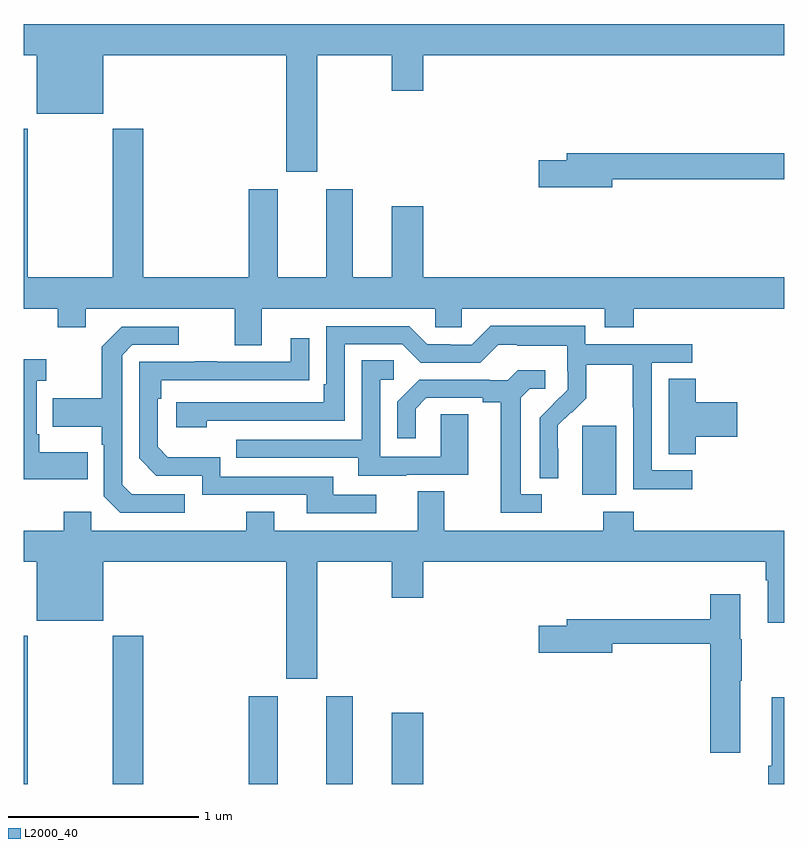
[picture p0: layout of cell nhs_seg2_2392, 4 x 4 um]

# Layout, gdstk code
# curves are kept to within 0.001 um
import gdstk
lib = gdstk.Library(unit=1e-6, precision=1e-09)
def R(c, l, rs):  # rectangles x0, y0, x1, y1
    for r in rs: c.add(gdstk.rectangle(r[:2], r[2:], *l))
def P(c, l, *ps):  # polygons
    for p in ps: c.add(gdstk.Polygon(p, *l))
L2000_40 = (2000, 40)

nhs_seg2_2392 = lib.new_cell('nhs_seg2_2392')
R(nhs_seg2_2392, L2000_40, [(235,647.8,235.023,648.58), (235.468,647.8,235.628,648.58), (236.183,647.8,236.335,648.262), (236.591,647.8,236.731,648.262), (236.936,647.8,237.1,648.175), (237.938,649.322,238.117,649.683)])
P(nhs_seg2_2392, L2000_40, [(236.545,651.632),(236.936,651.632),(236.936,651.444),(237.1,651.444),(237.1,651.632),(239,651.632),(239,651.796),(235,651.796),(235,651.632),(235.07,651.632),(235.07,651.323),(235.42,651.323),(235.42,651.632),(236.381,651.632),(236.381,651.018),(236.545,651.018)],
  [(236.251,650.3),(237.165,650.3),(237.165,650.202),(237.303,650.202),(237.303,650.3),(238.055,650.3),(238.055,650.201),(238.208,650.201),(238.208,650.3),(239,650.3),(239,650.464),(237.1,650.464),(237.1,650.839),(236.936,650.839),(236.936,650.464),(236.731,650.464),(236.731,650.926),(236.591,650.926),(236.591,650.464),(236.335,650.464),(236.335,650.926),(236.183,650.926),(236.183,650.464),(235.628,650.464),(235.628,651.244),(235.468,651.244),(235.468,650.464),(235.023,650.464),(235.023,651.244),(235,651.244),(235,650.3),(235.18,650.3),(235.18,650.201),(235.327,650.201),(235.327,650.3),(236.111,650.3),(236.111,650.106),(236.251,650.106)],
  [(238.096,650.98),(239,650.98),(239,651.116),(237.857,651.116),(237.857,651.08),(237.708,651.08),(237.708,650.938),(238.096,650.938)],
  [(238.516,649.449),(238.302,649.449),(238.302,650.016),(238.516,650.016),(238.516,650.112),(237.954,650.112),(237.954,650.209),(237.457,650.209),(237.357,650.109),(237.242,650.109),(237.242,650.112),(237.123,650.112),(237.027,650.208),(236.592,650.208),(236.592,649.903),(236.579,649.903),(236.579,649.806),(235.803,649.806),(235.803,649.676),(235.964,649.676),(235.964,649.71),(236.688,649.71),(236.688,650.112),(236.991,650.112),(237.087,650.016),(237.402,650.016),(237.495,650.109),(237.595,650.109),(237.595,650.105),(237.858,650.105),(237.858,649.971),(237.86,649.971),(237.86,649.874),(237.714,649.726),(237.714,649.408),(237.81,649.408),(237.809,649.685),(237.879,649.755),(237.882,649.752),(237.959,649.829),(237.959,650.004),(238.204,650.004),(238.204,649.78),(238.206,649.78),(238.206,649.351),(238.516,649.351)],
  [(235.846,649.323),(235.569,649.323),(235.518,649.374),(235.518,650.055),(235.572,650.109),(235.816,650.109),(235.816,650.205),(235.515,650.205),(235.41,650.099),(235.41,649.827),(235.153,649.827),(235.153,649.679),(235.41,649.679),(235.41,649.583),(235.422,649.583),(235.422,649.314),(235.509,649.227),(235.846,649.227)],
  [(236.854,649.32),(236.629,649.32),(236.629,649.416),(236.034,649.416),(236.034,649.519),(235.757,649.519),(235.704,649.572),(235.704,649.826),(235.724,649.826),(235.724,649.923),(236.501,649.924),(236.501,650.143),(236.405,650.143),(236.405,650.019),(236.015,650.019),(236.015,650.024),(235.903,650.024),(235.903,650.019),(235.608,650.019),(235.608,649.512),(235.698,649.422),(235.938,649.422),(235.938,649.32),(236.489,649.32),(236.489,649.224),(236.854,649.224)],
  [(235.337,649.543),(235.081,649.543),(235.081,649.639),(235.068,649.639),(235.068,649.919),(235.12,649.919),(235.12,650.032),(235,650.032),(235,649.403),(235.337,649.403)],
  [(237.013,649.425),(237.337,649.425),(237.337,649.745),(237.192,649.745),(237.192,649.521),(236.874,649.521),(236.874,649.926),(236.947,649.926),(236.947,650.027),(236.778,650.027),(236.778,649.611),(236.119,649.611),(236.119,649.515),(236.759,649.515),(236.759,649.421),(237.013,649.421)],
  [(237.724,649.323),(237.613,649.323),(237.613,649.831),(237.66,649.878),(237.742,649.878),(237.742,649.975),(237.598,649.975),(237.546,649.923),(237.452,649.923),(237.452,649.926),(237.08,649.926),(236.964,649.81),(236.964,649.617),(237.061,649.617),(237.061,649.773),(237.118,649.83),(237.413,649.83),(237.413,649.808),(237.509,649.808),(237.509,649.227),(237.724,649.227)],
  [(238.535,649.625),(238.753,649.625),(238.753,649.808),(238.535,649.808),(238.535,649.931),(238.391,649.931),(238.391,649.534),(238.535,649.534)],
  [(236.545,648.968),(236.936,648.968),(236.936,648.78),(237.1,648.78),(237.1,648.968),(238.901,648.968),(238.901,648.872),(238.913,648.872),(238.913,648.648),(239,648.648),(239,649.132),(238.208,649.132),(238.208,649.231),(238.048,649.231),(238.048,649.132),(237.211,649.132),(237.211,649.34),(237.071,649.34),(237.071,649.132),(236.317,649.132),(236.317,649.231),(236.17,649.231),(236.17,649.132),(235.356,649.132),(235.356,649.231),(235.21,649.231),(235.21,649.132),(235,649.132),(235,648.968),(235.07,648.968),(235.07,648.659),(235.42,648.659),(235.42,648.968),(236.381,648.968),(236.381,648.354),(236.545,648.354)],
  [(238.768,648.343),(238.776,648.343),(238.776,648.561),(238.768,648.561),(238.768,648.799),(238.61,648.799),(238.61,648.667),(237.857,648.667),(237.857,648.633),(237.708,648.633),(237.708,648.491),(238.096,648.491),(238.096,648.538),(238.61,648.538),(238.61,647.964),(238.768,647.964)],
  [(239,648.256),(238.934,648.256),(238.934,647.896),(238.915,647.896),(238.915,647.8),(239,647.8)])

lib.write_gds('nhs_seg2_2392.gds')
